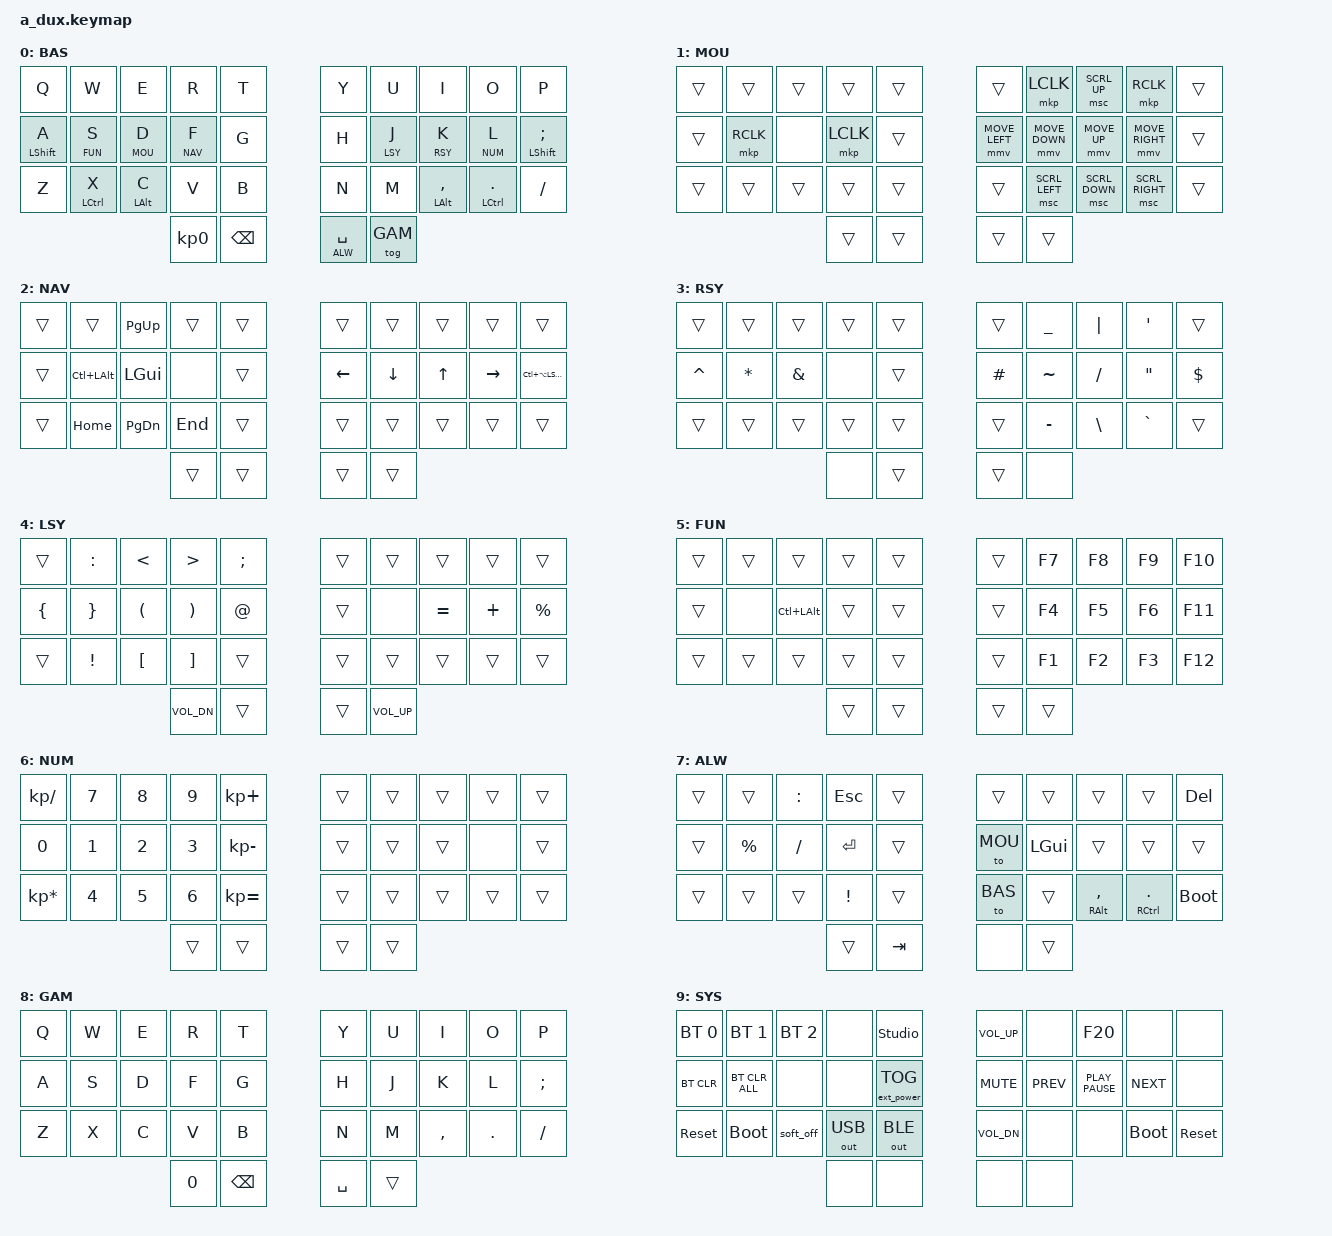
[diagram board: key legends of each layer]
// Port of the ferris/sweep QMK keymap
// (qmk_firmware/keyboards/ferris/keymaps/ThalerMatthias/keymap.json,
// pierrec83's default layout + gaming layer).
//
// QMK's sm_td tap-hold resolution has no ZMK equivalent; the closest match is
// the positional hold-taps below (balanced flavor + require-prior-idle).

#include <behaviors.dtsi>
#include <dt-bindings/zmk/bt.h>
#include <dt-bindings/zmk/keys.h>
#include <dt-bindings/zmk/outputs.h>
#include <dt-bindings/zmk/ext_power.h>
#include <dt-bindings/zmk/pointing.h>

//  0  1  2  3  4       5  6  7  8  9
// 10 11 12 13 14      15 16 17 18 19
// 20 21 22 23 24      25 26 27 28 29
//          30 31      32 33
#define LEFT_KEYS 0 1 2 3 4 10 11 12 13 14 20 21 22 23 24
#define LEFT_THUMBS 30 31
#define RIGHT_KEYS 5 6 7 8 9 15 16 17 18 19 25 26 27 28 29
#define RIGHT_THUMBS 32 33

#define BAS 0  // base qwerty
#define MOU 1  // mouse
#define NAV 2  // navigation
#define RSY 3  // right symbols
#define LSY 4  // left symbols
#define FUN 5  // function keys
#define NUM 6  // numbers
#define ALW 7  // always accessible
#define GAM 8  // plain qwerty gaming
#define SYS 9  // ZMK-only: bluetooth / output / power

/ {
    combos {
        compatible = "zmk,combos";

        // ZMK addition: press S + L together and hold for the bluetooth/system
        // layer. The QMK board is wired and has no such layer.
        // (A FUN+NUM conditional layer can't work here: once S activates FUN,
        // the L position resolves to F6 instead of the NUM layer-tap.)
        sys_layer {
            timeout-ms = <50>;
            key-positions = <11 18>;
            bindings = <&mo SYS>;
            layers = <BAS>;
        };
    };
};

/ {
    behaviors {
        // home row mods
        hml: home_row_mod_left {
            compatible = "zmk,behavior-hold-tap";
            #binding-cells = <2>;
            flavor = "balanced"; //produces a "hold" if another key is both pressed and released within the tapping-term.
            require-prior-idle-ms = <175>; // immediately resolves a HRM as "tap" when it is pressed shortly after another key has been tapped.
            tapping-term-ms = <280>; //how long a key must be pressed to trigger the "hold" behavior
            quick-tap-ms = <175>; //If you press a tapped hold-tap again within quick-tap-ms milliseconds of the first press, it will always trigger the tap behavior.
            bindings = <&kp>, <&kp>;
            hold-trigger-key-positions = <RIGHT_KEYS RIGHT_THUMBS>; // List of keys on the right side of the keyboard
            hold-trigger-on-release; //delays the positional-hold-tap decision until the next key's release. With this, mods can be combined when held
        };
        hmr: home_row_mod_right {
            compatible = "zmk,behavior-hold-tap";
            #binding-cells = <2>;
            flavor = "balanced";
            require-prior-idle-ms = <175>;
            tapping-term-ms = <280>;
            quick-tap-ms = <175>;
            bindings = <&kp>, <&kp>;
            hold-trigger-key-positions = <LEFT_KEYS LEFT_THUMBS>; // List of keys on the left side of the keyboard
            hold-trigger-on-release;
        };

        // home row layer-taps (QMK's LT() on the homerow), same positional logic
        hll: home_row_layer_left {
            compatible = "zmk,behavior-hold-tap";
            #binding-cells = <2>;
            flavor = "balanced";
            require-prior-idle-ms = <125>;
            tapping-term-ms = <280>;
            quick-tap-ms = <175>;
            bindings = <&mo>, <&kp>;
            hold-trigger-key-positions = <RIGHT_KEYS RIGHT_THUMBS>;
            hold-trigger-on-release;
        };
        hlr: home_row_layer_right {
            compatible = "zmk,behavior-hold-tap";
            #binding-cells = <2>;
            flavor = "balanced";
            require-prior-idle-ms = <125>;
            tapping-term-ms = <280>;
            quick-tap-ms = <175>;
            bindings = <&mo>, <&kp>;
            hold-trigger-key-positions = <LEFT_KEYS LEFT_THUMBS>;
            hold-trigger-on-release;
        };
    };

    keymap {
        compatible = "zmk,keymap";

        base_layer {  //0
            display-name = "BAS";
            bindings = <
&kp Q          &kp W        &kp E         &kp R           &kp T          /* | */    &kp Y          &kp U          &kp I           &kp O          &kp P
&hml LSHIFT A  &hll FUN S   &hll MOU D    &hll NAV F      &kp G          /* | */    &kp H          &hlr LSY J     &hlr RSY K      &hlr NUM L     &hmr LSHIFT SEMI
&kp Z          &hml LCTRL X &hml LALT C   &kp V           &kp B          /* | */    &kp N          &kp M          &hmr LALT COMMA &hmr LCTRL DOT &kp FSLH
                            /* - - - - - - - - - - - - - - - - - - - - - - - - - - - - - - - - - - - - - - - - - - - - - - - - - - - - - */
                                          &kp KP_N0       &kp BSPC       /* | */    &lt ALW SPACE  &tog GAM
            >;
        };

        mouse_layer {  //1
            display-name = "MOU";
            bindings = <
&trans         &trans       &trans        &trans          &trans         /* | */    &trans         &mkp LCLK      &msc SCRL_UP    &mkp RCLK      &trans
&trans         &mkp RCLK    &none         &mkp LCLK       &trans         /* | */    &mmv MOVE_LEFT &mmv MOVE_DOWN &mmv MOVE_UP    &mmv MOVE_RIGHT &trans
&trans         &trans       &trans        &trans          &trans         /* | */    &trans         &msc SCRL_LEFT &msc SCRL_DOWN  &msc SCRL_RIGHT &trans
                            /* - - - - - - - - - - - - - - - - - - - - - - - - - - - - - - - - - - - - - - - - - - - - - - - - - - - - - */
                                          &trans          &trans         /* | */    &trans         &trans
            >;
        };

        navigation_layer {  //2
            display-name = "NAV";
            bindings = <
&trans         &trans       &kp PG_UP     &trans          &trans         /* | */    &trans         &trans         &trans          &trans         &trans
&trans         &kp LC(LALT) &kp LGUI      &none           &trans         /* | */    &kp LEFT       &kp DOWN       &kp UP          &kp RIGHT      &kp LC(LA(LSHIFT))
&trans         &kp HOME     &kp PG_DN     &kp END         &trans         /* | */    &trans         &trans         &trans          &trans         &trans
                            /* - - - - - - - - - - - - - - - - - - - - - - - - - - - - - - - - - - - - - - - - - - - - - - - - - - - - - */
                                          &trans          &trans         /* | */    &trans         &trans
            >;
        };

        right_symbols_layer {  //3
            display-name = "RSY";
            bindings = <
&trans         &trans       &trans        &trans          &trans         /* | */    &trans         &kp UNDER      &kp PIPE        &kp SQT        &trans
&kp CARET      &kp STAR     &kp AMPS      &none           &trans         /* | */    &kp HASH       &kp TILDE      &kp FSLH        &kp DQT        &kp DLLR
&trans         &trans       &trans        &trans          &trans         /* | */    &trans         &kp MINUS      &kp BSLH        &kp GRAVE      &trans
                            /* - - - - - - - - - - - - - - - - - - - - - - - - - - - - - - - - - - - - - - - - - - - - - - - - - - - - - */
                                          &none           &trans         /* | */    &trans         &none
            >;
        };

        left_symbols_layer {  //4
            display-name = "LSY";
            bindings = <
&trans         &kp COLON    &kp LT        &kp GT          &kp SEMI       /* | */    &trans         &trans         &trans          &trans         &trans
&kp LBRC       &kp RBRC     &kp LPAR      &kp RPAR        &kp AT         /* | */    &trans         &none          &kp EQUAL       &kp PLUS       &kp PERCENT
&trans         &kp EXCL     &kp LBKT      &kp RBKT        &trans         /* | */    &trans         &trans         &trans          &trans         &trans
                            /* - - - - - - - - - - - - - - - - - - - - - - - - - - - - - - - - - - - - - - - - - - - - - - - - - - - - - */
                                          &kp C_VOL_DN    &trans         /* | */    &trans         &kp C_VOL_UP
            >;
        };

        function_layer {  //5
            display-name = "FUN";
            bindings = <
&trans         &trans       &trans        &trans          &trans         /* | */    &trans         &kp F7         &kp F8          &kp F9         &kp F10
&trans         &none        &kp LC(LALT)  &trans          &trans         /* | */    &trans         &kp F4         &kp F5          &kp F6         &kp F11
&trans         &trans       &trans        &trans          &trans         /* | */    &trans         &kp F1         &kp F2          &kp F3         &kp F12
                            /* - - - - - - - - - - - - - - - - - - - - - - - - - - - - - - - - - - - - - - - - - - - - - - - - - - - - - */
                                          &trans          &trans         /* | */    &trans         &trans
            >;
        };

        numbers_layer {  //6
            display-name = "NUM";
            bindings = <
&kp KP_SLASH   &kp N7       &kp N8        &kp N9          &kp KP_PLUS    /* | */    &trans         &trans         &trans          &trans         &trans
&kp N0         &kp N1       &kp N2        &kp N3          &kp KP_MINUS   /* | */    &trans         &trans         &trans          &none          &trans
&kp KP_MULTIPLY &kp N4      &kp N5        &kp N6          &kp KP_EQUAL   /* | */    &trans         &trans         &trans          &trans         &trans
                            /* - - - - - - - - - - - - - - - - - - - - - - - - - - - - - - - - - - - - - - - - - - - - - - - - - - - - - */
                                          &trans          &trans         /* | */    &trans         &trans
            >;
        };

        always_accessible_layer {  //7
            display-name = "ALW";
            bindings = <
&trans         &trans       &kp COLON     &kp ESC         &trans         /* | */    &trans         &trans         &trans          &trans         &kp DEL
&trans         &kp PERCENT  &kp FSLH      &kp ENTER       &trans         /* | */    &to MOU        &kp LGUI       &trans          &trans         &trans
&trans         &trans       &trans        &kp EXCL        &trans         /* | */    &to BAS        &trans         &hmr RALT COMMA &hmr RCTRL DOT &bootloader
                            /* - - - - - - - - - - - - - - - - - - - - - - - - - - - - - - - - - - - - - - - - - - - - - - - - - - - - - */
                                          &trans          &kp TAB        /* | */    &none          &trans
            >;
        };

        gaming_layer {  //8
            display-name = "GAM";
            bindings = <
&kp Q          &kp W        &kp E         &kp R           &kp T          /* | */    &kp Y          &kp U          &kp I           &kp O          &kp P
&kp A          &kp S        &kp D         &kp F           &kp G          /* | */    &kp H          &kp J          &kp K           &kp L          &kp SEMI
&kp Z          &kp X        &kp C         &kp V           &kp B          /* | */    &kp N          &kp M          &kp COMMA       &kp DOT        &kp FSLH
                            /* - - - - - - - - - - - - - - - - - - - - - - - - - - - - - - - - - - - - - - - - - - - - - - - - - - - - - */
                                          &kp N0          &kp BSPC       /* | */    &kp SPACE      &trans
            >;
        };

        system_layer {  //9
            display-name = "SYS";
            bindings = <
&bt BT_SEL 0   &bt BT_SEL 1   &bt BT_SEL 2 &none          &studio_unlock    /* | */ &kp K_VOL_UP   &none          &kp F20 /* mic */ &none        &none
&bt BT_CLR     &bt BT_CLR_ALL &none        &none          &ext_power EP_TOG /* | */ &kp K_MUTE     &kp K_PREV     &kp K_PLAY_PAUSE &kp K_NEXT    &none
&sys_reset     &bootloader    &soft_off    &out OUT_USB   &out OUT_BLE      /* | */ &kp K_VOL_DN   &none          &none           &bootloader    &sys_reset
                            /* - - - - - - - - - - - - - - - - - - - - - - - - - - - - - - - - - - - - - - - - - - - - - - - - - - - - - */
                                          &none           &none          /* | */    &none          &none
            >;
        };
    };
};
